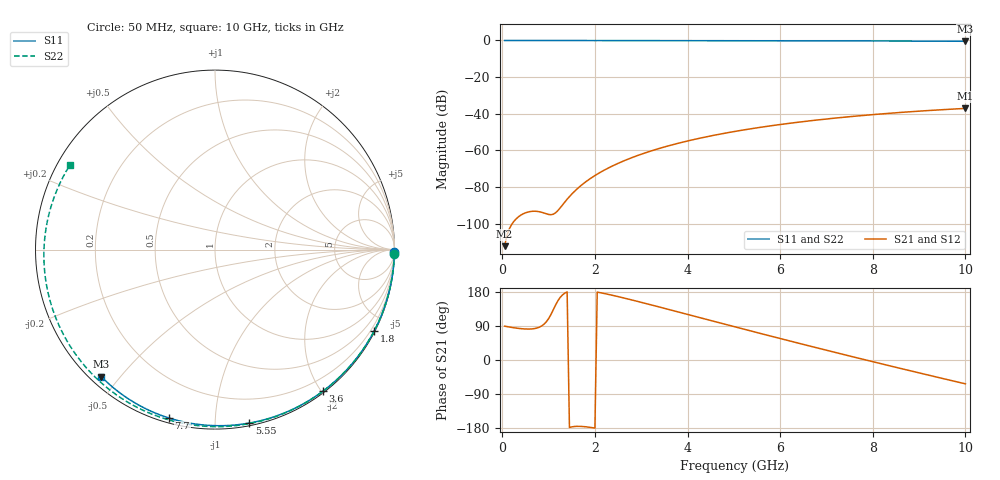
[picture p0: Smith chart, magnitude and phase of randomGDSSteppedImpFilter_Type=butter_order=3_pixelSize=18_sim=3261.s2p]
! freq	dB(S11)	phase(S11)	dB(S12)	phase(S12)
!  dB(S21)	phase(S21)	dB(S22)	phase(S22)
!S-par simulation data
#  GHz  S  DB  R 50
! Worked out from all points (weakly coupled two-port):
!   200 points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, 50 MHz to 10 GHz, reference 50 ohm
!   highest |S21| = -37.09 dB at 10 GHz (marker M1); lowest = -112.3 dB at 50 MHz (marker M2)
!   lowest |S11| = -0.4 dB at 10 GHz (marker M3), VSWR 38.98, Z = 1.54 - j22.4 ohm
!   |S11| at or under -10 dB: nowhere
!   |S22| runs from -0.6 to 0.0 dB; largest |S21 - S12| = 0
!   S11 on the Smith chart (normalised r, x): 50 MHz: open; 1.8 GHz: 0.04, -4.17; 3.6 GHz: 0.02, -2.01; 5.55 GHz: 0.02, -1.22; 7.7 GHz: 0.02, -0.76; 10 GHz: 0.03, -0.45
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0.05  -0.00 -0.8  -112.25 89.3  -112.25 89.3  -0.00 -1.3
0.4  -0.01 -6.1  -95.32 82.7  -95.32 82.7  -0.01 -10.3
0.8  -0.02 -12.1  -93.46 86.6  -93.46 86.6  -0.03 -20.5
1.2  -0.02 -18.1  -92.83 156.2  -92.83 156.2  -0.04 -30.5
1.65  -0.03 -24.8  -80.22 -175.0  -80.22 -175.0  -0.05 -41.6
1.75  -0.03 -26.3  -78.14 -175.6  -78.14 -175.6  -0.06 -44.1
1.8  -0.03 -27.0  -77.17 -176.2  -77.17 -176.2  -0.06 -45.3
2.1  -0.04 -31.4  -72.20 178.0  -72.20 178.0  -0.07 -52.5
2.5  -0.05 -37.2  -67.06 167.3  -67.06 167.3  -0.08 -61.9
2.9  -0.06 -42.9  -62.98 155.3  -62.98 155.3  -0.09 -71.0
3.4  -0.07 -50.0  -58.85 139.6  -58.85 139.6  -0.11 -82.1
3.6  -0.07 -52.8  -57.42 133.2  -57.42 133.2  -0.11 -86.5
4.3  -0.09 -62.4  -53.15 110.7  -53.15 110.7  -0.14 -101.2
5.05  -0.11 -72.4  -49.51 86.7  -49.51 86.7  -0.17 -116.3
5.55  -0.13 -78.8  -47.48 70.8  -47.48 70.8  -0.20 -126.0
6.15  -0.15 -86.5  -45.37 52.0  -45.37 52.0  -0.23 -137.4
6.7  -0.18 -93.3  -43.69 34.9  -43.69 34.9  -0.27 -147.7
7.2  -0.21 -99.3  -42.33 19.6  -42.33 19.6  -0.31 -156.9
7.7  -0.24 -105.3  -41.13 4.5  -41.13 4.5  -0.35 -166.2
8.35  -0.29 -112.9  -39.75 -14.9  -39.75 -14.9  -0.41 -178.3
9.2  -0.36 -122.7  -38.24 -39.9  -38.24 -39.9  -0.50 165.5
10  -0.45 -131.8  -37.09 -62.9  -37.09 -62.9  -0.58 149.6
